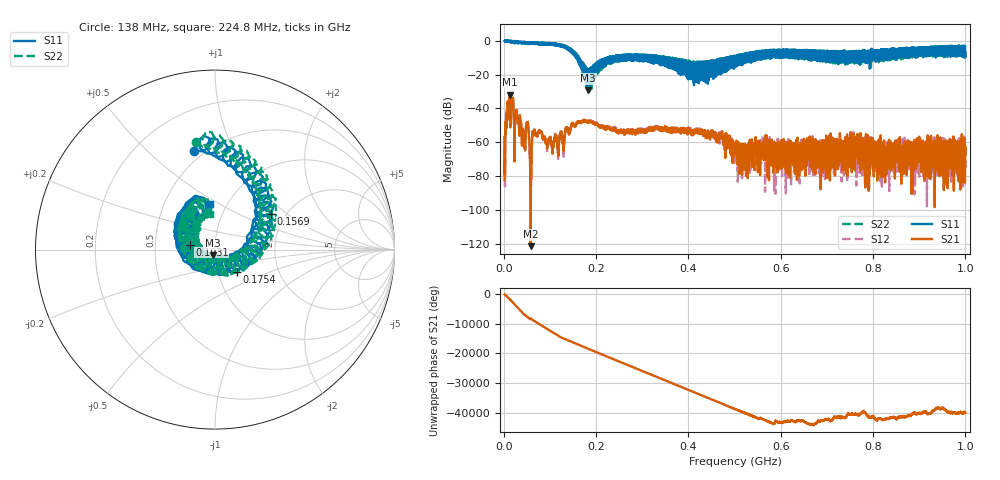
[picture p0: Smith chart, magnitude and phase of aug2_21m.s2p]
!Keysight Technologies N9923A: A.12.45
!Date: Saturday, 02 August 2025 19:08:54
!Timezone: (UTC+08:00) Kuala Lumpur, Singapore
!Model: N9923A
!Serial: MY61181427
!GPS Latitude:
!GPS Longitude:
!GPS TimeStamp: 0001-01-01 00:00:00Z
!GPS Seconds Since Last Read: 0
!CHECKSUM:1540115789
!Correction: S11(ON U)S21(ON U)S12(ON U)S22(ON U)
!S2P File: Measurements:S11,S21,S12,S22:
# Hz S DB R 50
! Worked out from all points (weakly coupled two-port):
!   4001 points, 2 MHz to 1 GHz, reference 50 ohm
!   highest |S21| = -31.83 dB at 12.73 MHz (marker M1); lowest = -121.4 dB at 58.64 MHz (marker M2)
!   lowest |S11| = -29.3 dB at 182.9 MHz (marker M3), VSWR 1.07, Z = 48.8 - j3.15 ohm
!   |S11| at or under -10 dB: 162.5 MHz to 223.5 MHz (61.06 MHz wide, 31.6 % of centre); 223.6 MHz to 225.2 MHz (1.602 MHz wide, 0.714 % of centre); 352.8 MHz to 484.7 MHz (131.9 MHz wide, 31.5 % of centre) (the widest 3 of 272)
!   |S22| runs from -29.9 to 0.1 dB; largest |S21 - S12| = 0.0029
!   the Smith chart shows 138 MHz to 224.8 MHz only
!   S11 on the Smith chart (normalised r, x): 138 MHz: 0.44, +0.71; 156.9 MHz: 1.69, +0.78; 175.4 MHz: 1.24, -0.32; 193.1 MHz: 0.75, +0.04; 224.8 MHz: 0.84, +0.45
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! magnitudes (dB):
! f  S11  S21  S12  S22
! 2 MHz  -0.1  -82.4  -74.5  -0.1
! 8.238 MHz  0.1  -40.8  -40.9  0.0
! 12.73 MHz  -0.8  -31.8  -31.9  -0.7
! 42.92 MHz  -1.4  -53.7  -53.3  -1.7
! 51.65 MHz  -1.3  -48.3  -48.7  -1.0
! 58.64 MHz  -1.0  -121.4  -102.9  -1.1
! 66.87 MHz  -1.0  -53.1  -53.1  -1.3
! 104.3 MHz  -1.9  -60.5  -63.2  -1.7
! 138 MHz  -5.0  -52.0  -52.1  -4.3
! 156.9 MHz  -8.6  -49.1  -50.0  -8.8
! 168.4 MHz  -14.8  -47.7  -48.3  -15.1
! 175.4 MHz  -15.1  -47.4  -47.3  -15.7
! 182.9 MHz  -29.3  -47.9  -48.0  -23.3
! 193.1 MHz  -16.8  -48.4  -47.5  -22.9
! 224.8 MHz  -11.9  -50.9  -51.9  -14.1
! 334.8 MHz  -11.7  -51.9  -51.7  -9.5
! 417.2 MHz  -24.5  -52.6  -51.6  -15.2
! 501 MHz  -12.4  -64.2  -61.9  -13.4
! 667.4 MHz  -6.8  -65.3  -60.8  -10.4
! 755.5 MHz  -7.3  -66.4  -64.7  -9.1
! 833.8 MHz  -6.8  -61.9  -70.2  -7.8
! 1 GHz  -7.1  -64.1  -62.3  -2.9
